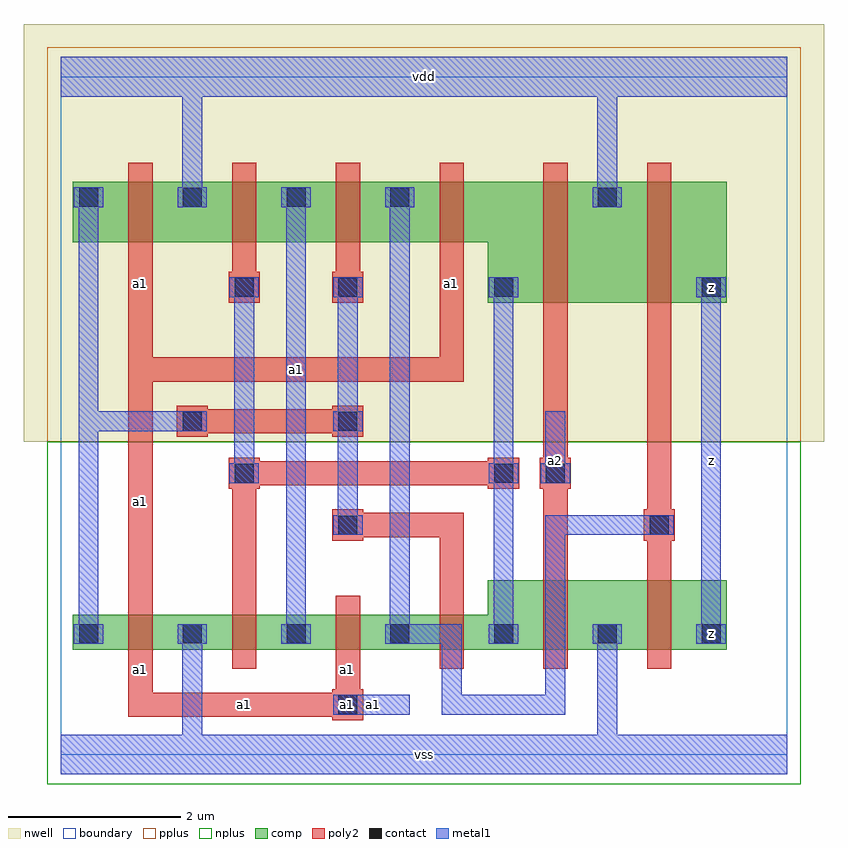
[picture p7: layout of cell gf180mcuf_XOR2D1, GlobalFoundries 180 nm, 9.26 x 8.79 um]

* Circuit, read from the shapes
.subckt gf180mcuf_XOR2D1 a1 a2 vdd vss z
XM1 vss a1 n1 VSUBS nfet_03v3 w=0.4u l=0.28u
XM2 n2 n3 vss VSUBS nfet_03v3 w=0.4u l=0.28u
XM3 n4 a1 n2 VSUBS nfet_03v3 w=0.4u l=0.28u
XM4 n3 n1 n4 VSUBS nfet_03v3 w=0.4u l=0.28u
XM5 vss a2 n3 VSUBS nfet_03v3 w=0.8u l=0.28u
XM6 z n4 vss VSUBS nfet_03v3 w=0.8u l=0.28u
XM7 vdd a1 n1 n5 pfet_03v3 w=0.7u l=0.28u
XM8 n2 n3 vdd n5 pfet_03v3 w=0.7u l=0.28u
XM9 n4 n1 n2 n5 pfet_03v3 w=0.7u l=0.28u
XM10 n3 a1 n4 n5 pfet_03v3 w=0.7u l=0.28u
XM11 vdd a2 n3 n5 pfet_03v3 w=1.4u l=0.28u
XM12 z n4 vdd n5 pfet_03v3 w=1.4u l=0.28u
.ends

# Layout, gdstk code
import gdstk
lib = gdstk.Library(unit=1e-6, precision=1e-09)
def R(c, l, rs):  # rectangles x0, y0, x1, y1
    for r in rs: c.add(gdstk.rectangle(r[:2], r[2:], *l))
def A(c, l, x, y, w, h, nx, ny, dx, dy):  # array of equal rectangles
    R(c, l, [(x+i*dx, y+j*dy, x+i*dx+w, y+j*dy+h) for i in range(nx) for j in range(ny)])
boundary = (0, 0)
nwell = (21, 0)
comp = (22, 0)
poly2 = (30, 0)
pplus = (31, 0)
nplus = (32, 0)
contact = (33, 0)
metal1 = (34, 0)

gf180mcuf_xor2d1 = lib.new_cell('gf180mcuf_XOR2D1')
R(gf180mcuf_xor2d1, boundary, [(0,0,8.4,7.84)])
R(gf180mcuf_xor2d1, nwell, [(-0.43,3.62,8.83,8.45)])
A(gf180mcuf_xor2d1, comp, 0.14, 1.215, 1.56, 0.4, 4, 1, 1.2, 0)
A(gf180mcuf_xor2d1, comp, 0.14, 1.215, 0.36, 0.36, 7, 1, 1.2, 0)
A(gf180mcuf_xor2d1, comp, 0.14, 5.925, 1.56, 0.7, 4, 1, 1.2, 0)
A(gf180mcuf_xor2d1, comp, 0.14, 6.265, 0.36, 0.36, 4, 1, 1.2, 0)
R(gf180mcuf_xor2d1, comp, [(4.94,1.215,6.5,2.015), (6.14,1.215,7.7,2.015), (4.94,5.225,6.5,6.625), (4.94,5.225,5.3,5.585), (6.14,5.225,7.7,6.625), (7.34,5.225,7.7,5.585), (6.14,6.265,6.5,6.625)])
A(gf180mcuf_xor2d1, poly2, 0.78, 0.995, 0.28, 0.84, 4, 1, 1.2, 0)
A(gf180mcuf_xor2d1, poly2, 0.78, 5.705, 0.28, 1.14, 4, 1, 1.2, 0)
R(gf180mcuf_xor2d1, poly2, [(3.14,0.395,3.5,0.755), (0.78,0.435,1.06,1.535), (0.78,0.435,3.46,0.715), (3.18,0.435,3.46,1.535), (5.58,0.995,5.86,2.235), (6.78,0.995,7.06,2.235), (0.78,1.255,1.06,4.595), (1.98,1.255,2.26,3.395), (4.38,1.255,4.66,2.795), (5.58,1.255,5.86,5.545), (6.78,1.255,7.06,2.795), (3.14,2.475,3.5,2.835), (6.74,2.475,7.1,2.835), (3.18,2.515,4.66,2.795), (6.78,2.515,7.06,5.545), (1.94,3.075,2.3,3.435), (4.94,3.075,5.3,3.435), (5.54,3.075,5.9,3.435), (1.98,3.115,5.26,3.395), (1.34,3.675,1.7,4.035), (3.14,3.675,3.5,4.035), (1.38,3.715,3.46,3.995), (0.78,4.315,4.66,4.595), (0.78,4.315,1.06,6.585), (4.38,4.315,4.66,6.585), (5.58,5.005,5.86,6.845), (6.78,5.005,7.06,6.845), (1.94,5.225,2.3,5.585), (3.14,5.225,3.5,5.585), (1.98,5.265,2.26,6.585), (3.18,5.265,3.46,6.585)])
R(gf180mcuf_xor2d1, pplus, [(-0.16,3.62,8.56,7.5), (-0.16,7.5,8.56,8.18)])
R(gf180mcuf_xor2d1, nplus, [(-0.16,-0.34,8.56,0.34), (-0.16,0.34,8.56,3.62)])
A(gf180mcuf_xor2d1, contact, 0.21, 1.285, 0.22, 0.22, 7, 1, 1.2, 0)
A(gf180mcuf_xor2d1, contact, 0.21, 6.335, 0.22, 0.22, 4, 1, 1.2, 0)
R(gf180mcuf_xor2d1, contact, [(3.21,0.465,3.43,0.685), (3.21,2.545,3.43,2.765), (6.81,2.545,7.03,2.765), (2.01,3.145,2.23,3.365), (5.01,3.145,5.23,3.365), (5.61,3.145,5.83,3.365), (1.41,3.745,1.63,3.965), (3.21,3.745,3.43,3.965), (2.01,5.295,2.23,5.515), (3.21,5.295,3.43,5.515), (5.01,5.295,5.23,5.515), (7.41,5.295,7.63,5.515), (6.21,6.335,6.43,6.555)])
A(gf180mcuf_xor2d1, metal1, 0.15, 1.28, 0.34, 0.23, 7, 1, 1.2, 0)
A(gf180mcuf_xor2d1, metal1, 0.15, 6.33, 0.34, 0.23, 4, 1, 1.2, 0)
R(gf180mcuf_xor2d1, metal1, [(0,-0.23,8.4,0.23), (1.405,0.065,1.635,1.51), (6.205,0.065,6.435,1.51), (3.15,0.46,3.49,0.69), (3.205,0.46,4.035,0.69), (4.405,0.46,4.635,1.51), (4.405,0.46,5.835,0.69), (5.605,0.46,5.835,2.77), (0.205,1.28,0.435,6.56), (2.605,1.28,2.835,6.56), (3.805,1.28,4.035,6.56), (3.805,1.28,4.635,1.51), (5.005,1.28,5.235,5.52), (7.405,1.28,7.635,5.52), (3.15,2.54,3.49,2.77), (3.205,2.54,3.435,5.52), (5.605,2.54,7.035,2.77), (6.75,2.54,7.09,2.77), (1.95,3.14,2.29,3.37), (2.005,3.14,2.235,5.52), (4.95,3.14,5.29,3.37), (5.55,3.14,5.89,3.37), (5.605,3.14,5.835,3.97), (0.205,3.74,1.635,3.97), (1.35,3.74,1.69,3.97), (3.15,3.74,3.49,3.97), (1.95,5.29,2.29,5.52), (3.15,5.29,3.49,5.52), (4.95,5.29,5.29,5.52), (7.35,5.29,7.69,5.52), (1.405,6.33,1.635,7.775), (6.15,6.33,6.49,6.56), (6.205,6.33,6.435,7.775), (0,7.61,8.4,8.07)])
gf180mcuf_xor2d1.add(gdstk.FlexPath([(0.14,0.575),(7.7,0.575)], 0, ends="flush", simple_path=True, layer=0, datatype=0))  # boundary
gf180mcuf_xor2d1.add(gdstk.FlexPath([(0.14,1.395),(7.7,1.395)], 0, ends="flush", simple_path=True, layer=0, datatype=0))  # boundary
gf180mcuf_xor2d1.add(gdstk.FlexPath([(0.14,2.655),(7.7,2.655)], 0, ends="flush", simple_path=True, layer=0, datatype=0))  # boundary
gf180mcuf_xor2d1.add(gdstk.FlexPath([(0.14,3.255),(7.7,3.255)], 0, ends="flush", simple_path=True, layer=0, datatype=0))  # boundary
gf180mcuf_xor2d1.add(gdstk.FlexPath([(0.14,3.855),(7.7,3.855)], 0, ends="flush", simple_path=True, layer=0, datatype=0))  # boundary
gf180mcuf_xor2d1.add(gdstk.FlexPath([(0.14,4.455),(7.7,4.455)], 0, ends="flush", simple_path=True, layer=0, datatype=0))  # boundary
gf180mcuf_xor2d1.add(gdstk.FlexPath([(0.14,5.405),(7.7,5.405)], 0, ends="flush", simple_path=True, layer=0, datatype=0))  # boundary
gf180mcuf_xor2d1.add(gdstk.FlexPath([(0.14,6.445),(7.7,6.445)], 0, ends="flush", simple_path=True, layer=0, datatype=0))  # boundary
gf180mcuf_xor2d1.add(gdstk.FlexPath([(0.14,7.265),(7.7,7.265)], 0, ends="flush", simple_path=True, layer=0, datatype=0))  # boundary
gf180mcuf_xor2d1.add(gdstk.FlexPath([(0.32,0.065),(0.32,7.775)], 0, ends="flush", simple_path=True, layer=0, datatype=0))  # boundary
gf180mcuf_xor2d1.add(gdstk.FlexPath([(0.92,0.065),(0.92,7.775)], 0, ends="flush", simple_path=True, layer=0, datatype=0))  # boundary
gf180mcuf_xor2d1.add(gdstk.FlexPath([(1.52,0.065),(1.52,7.775)], 0, ends="flush", simple_path=True, layer=0, datatype=0))  # boundary
gf180mcuf_xor2d1.add(gdstk.FlexPath([(2.12,0.065),(2.12,7.775)], 0, ends="flush", simple_path=True, layer=0, datatype=0))  # boundary
gf180mcuf_xor2d1.add(gdstk.FlexPath([(2.72,0.065),(2.72,7.775)], 0, ends="flush", simple_path=True, layer=0, datatype=0))  # boundary
gf180mcuf_xor2d1.add(gdstk.FlexPath([(3.32,0.065),(3.32,7.775)], 0, ends="flush", simple_path=True, layer=0, datatype=0))  # boundary
gf180mcuf_xor2d1.add(gdstk.FlexPath([(3.92,0.065),(3.92,7.775)], 0, ends="flush", simple_path=True, layer=0, datatype=0))  # boundary
gf180mcuf_xor2d1.add(gdstk.FlexPath([(4.52,0.065),(4.52,7.775)], 0, ends="flush", simple_path=True, layer=0, datatype=0))  # boundary
gf180mcuf_xor2d1.add(gdstk.FlexPath([(5.12,0.065),(5.12,7.775)], 0, ends="flush", simple_path=True, layer=0, datatype=0))  # boundary
gf180mcuf_xor2d1.add(gdstk.FlexPath([(5.72,0.065),(5.72,7.775)], 0, ends="flush", simple_path=True, layer=0, datatype=0))  # boundary
gf180mcuf_xor2d1.add(gdstk.FlexPath([(6.32,0.065),(6.32,7.775)], 0, ends="flush", simple_path=True, layer=0, datatype=0))  # boundary
gf180mcuf_xor2d1.add(gdstk.FlexPath([(6.92,0.065),(6.92,7.775)], 0, ends="flush", simple_path=True, layer=0, datatype=0))  # boundary
gf180mcuf_xor2d1.add(gdstk.FlexPath([(7.52,0.065),(7.52,7.775)], 0, ends="flush", simple_path=True, layer=0, datatype=0))  # boundary
gf180mcuf_xor2d1.add(gdstk.Label('z', (7.52,1.395), layer=22, texttype=0))
gf180mcuf_xor2d1.add(gdstk.Label('z', (7.52,5.405), layer=22, texttype=0))
gf180mcuf_xor2d1.add(gdstk.Label('a1', (3.32,0.985), layer=30, texttype=0))
gf180mcuf_xor2d1.add(gdstk.Label('a1', (2.12,0.575), layer=30, texttype=0))
gf180mcuf_xor2d1.add(gdstk.Label('a1', (0.92,0.985), layer=30, texttype=0))
gf180mcuf_xor2d1.add(gdstk.Label('a1', (0.92,2.925), layer=30, texttype=0))
gf180mcuf_xor2d1.add(gdstk.Label('a1', (2.72,4.455), layer=30, texttype=0))
gf180mcuf_xor2d1.add(gdstk.Label('a1', (4.52,5.45), layer=30, texttype=0))
gf180mcuf_xor2d1.add(gdstk.Label('a1', (0.92,5.45), layer=30, texttype=0))
gf180mcuf_xor2d1.add(gdstk.Label('a1', (3.32,0.575), layer=30, texttype=0))
gf180mcuf_xor2d1.add(gdstk.Label('a2', (5.72,3.4), layer=30, texttype=0))
gf180mcuf_xor2d1.add(gdstk.Label('a2', (5.72,3.255), layer=30, texttype=0))
gf180mcuf_xor2d1.add(gdstk.Label('a1', (3.32,0.575), layer=33, texttype=0))
gf180mcuf_xor2d1.add(gdstk.Label('a2', (5.72,3.255), layer=33, texttype=0))
gf180mcuf_xor2d1.add(gdstk.Label('z', (7.52,1.395), layer=33, texttype=0))
gf180mcuf_xor2d1.add(gdstk.Label('z', (7.52,5.405), layer=33, texttype=0))
gf180mcuf_xor2d1.add(gdstk.Label('a1', (3.32,0.575), layer=34, texttype=10))
gf180mcuf_xor2d1.add(gdstk.Label('a1', (3.62,0.575), layer=34, texttype=10))
gf180mcuf_xor2d1.add(gdstk.Label('a2', (5.72,3.255), layer=34, texttype=10))
gf180mcuf_xor2d1.add(gdstk.Label('a2', (5.72,3.555), layer=34, texttype=10))
gf180mcuf_xor2d1.add(gdstk.Label('z', (7.52,1.395), layer=34, texttype=10))
gf180mcuf_xor2d1.add(gdstk.Label('z', (7.52,5.405), layer=34, texttype=10))
gf180mcuf_xor2d1.add(gdstk.Label('z', (7.52,3.4), layer=34, texttype=10))
gf180mcuf_xor2d1.add(gdstk.Label('vss', (4.2,0), layer=34, texttype=10))
gf180mcuf_xor2d1.add(gdstk.Label('vdd', (4.2,7.84), layer=34, texttype=10))

lib.write_gds('gf180mcuf_XOR2D1.gds')
